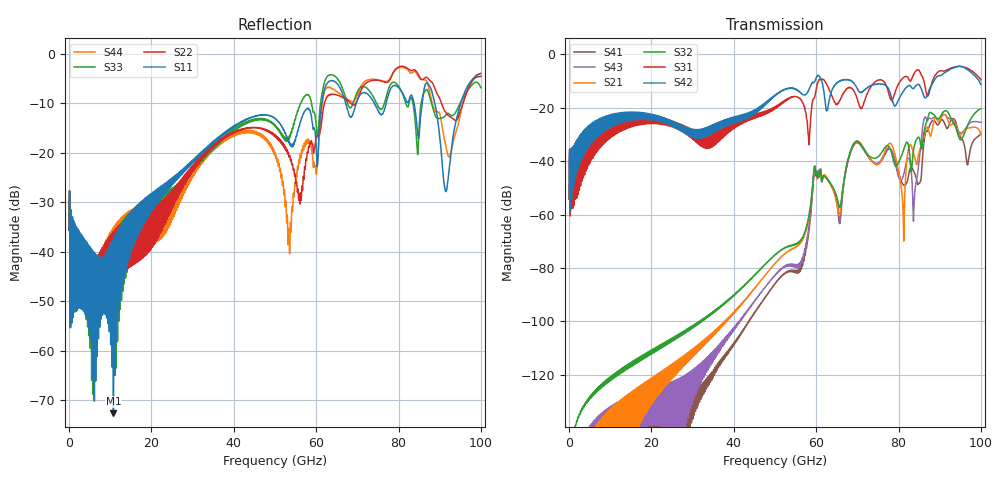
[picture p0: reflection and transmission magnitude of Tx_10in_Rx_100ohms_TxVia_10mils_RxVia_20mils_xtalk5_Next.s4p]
! Info: Touchstone file created by Circ.  Input file=Tx_10in_Rx_100ohms_TxVia_10mils_RxVia_20mils.circ
# Hz S RI R 50
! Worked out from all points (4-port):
!   10000 points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, 10 MHz to 100 GHz, reference 50 ohm
!   strongest paths, dB at 10 MHz, 25.01 GHz, 50.01 GHz, 75.01 GHz, 100 GHz:
!     S42: -54.2, -25.4, -15.5, -11.2, -11.3
!     S31: -54.2, -25.7, -20.3, -9.7, -9.6
!     S32: -178.0, -106.2, -75.2, -38.4, -20.4
!     S21: -, -116.0, -78.3, -41.3, -29.8
!     S43: -154.6, -123.1, -82.8, -40.7, -25.5
!     S41: -154.8, -135.2, -86.0, -41.1, -29.9
!   lowest |S11| = -72.6 dB at 10.77 GHz (marker M1), VSWR 1.00, Z = 50 + j0.0227 ohm
!   |S11| at or under -10 dB: start of sweep to 61.37 GHz; 74.12 GHz to 76.98 GHz (2.857 GHz wide, 3.78 % of centre); 88.82 GHz to 95.09 GHz (6.279 GHz wide, 6.83 % of centre)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
1e7  0.0152 0.00649  5.08e-11 -2.72e-11  0.000641 0.00183  -6.59e-09 1.7e-08
     5.08e-11 -2.72e-11  0.0153 0.00648  6.84e-10 1.06e-09  0.000637 0.00183
     0.000641 0.00183  6.84e-10 1.06e-09  0.0153 0.00648  -7.99e-09 1.69e-08
     -6.59e-09 1.7e-08  0.000638 0.00183  -7.99e-09 1.69e-08  0.0152 0.00649
1.077e10  5.98e-05 0.000227  -1.91e-08 -4.22e-08  0.0597 0.031  1.03e-08 -3.11e-08
          -1.91e-08 -4.22e-08  0.00907 0.00368  5.58e-07 6.41e-07  0.0716 0.0217
          0.0597 0.031  5.58e-07 6.41e-07  0.00091 0.000645  1.16e-07 -1.09e-07
          1.03e-08 -3.11e-08  0.0716 0.0217  1.16e-07 -1.09e-07  0.00816 0.00509
5.563e10  0.1603 -0.0547  0.000114 0.000243  -0.0208 0.1547  7.57e-05 5.16e-05
          0.000114 0.000243  -0.0175 0.0375  7.61e-05 0.000291  0.1132 0.1708
          -0.0208 0.1547  7.61e-05 0.000291  0.2674 -0.0257  9.18e-05 7.38e-05
          7.57e-05 5.16e-05  0.1132 0.1708  9.18e-05 7.38e-05  0.0185 -0.0657
5.981e10  0.0191 -0.1524  0.00548 -0.00347  -0.0714 0.1687  0.00463 -0.00402
          0.00548 -0.00347  0.065 0.1113  0.00541 -0.00353  0.3107 0.126
          -0.0714 0.1687  0.00541 -0.00353  0.0608 -0.2188  0.00465 -0.00421
          0.00463 -0.00402  0.3107 0.126  0.00465 -0.00421  8.2e-05 0.0742
8.38e10  0.2912 -0.1104  0.0124 0.00183  -0.3648 -0.25  0.00442 -0.00431
         0.0124 0.00183  -0.6184 -0.3096  -0.0186 -0.00117  -0.0492 0.2296
         -0.3648 -0.25  -0.0186 -0.00117  0.2311 -0.1284  -0.00147 0.000863
         0.00442 -0.00431  -0.0492 0.2296  -0.00147 0.000863  -0.5691 -0.3407
8.641e10  0.4507 -0.1593  0.0353 -0.00313  -0.0497 0.2524  0.0303 -0.00209
          0.0353 -0.00313  -0.5573 0.1333  -0.0251 0.0342  0.0758 0.1327
          -0.0497 0.2524  -0.0251 0.0342  0.2916 -0.3005  0.0335 0.0573
          0.0303 -0.00209  0.0758 0.1327  0.0335 0.0573  -0.5223 0.1608
1e11  -0.6321 0.0061  0.0118 -0.03  0.0724 0.325  -0.029 0.0135
      0.0118 -0.03  -0.5911 0.0388  0.06 0.0747  0.0989 0.2526
      0.0724 0.325  0.06 0.0747  -0.4476 0.0793  -0.00115 -0.0533
      -0.029 0.0135  0.0989 0.2526  -0.00115 -0.0533  -0.6321 0.0866
